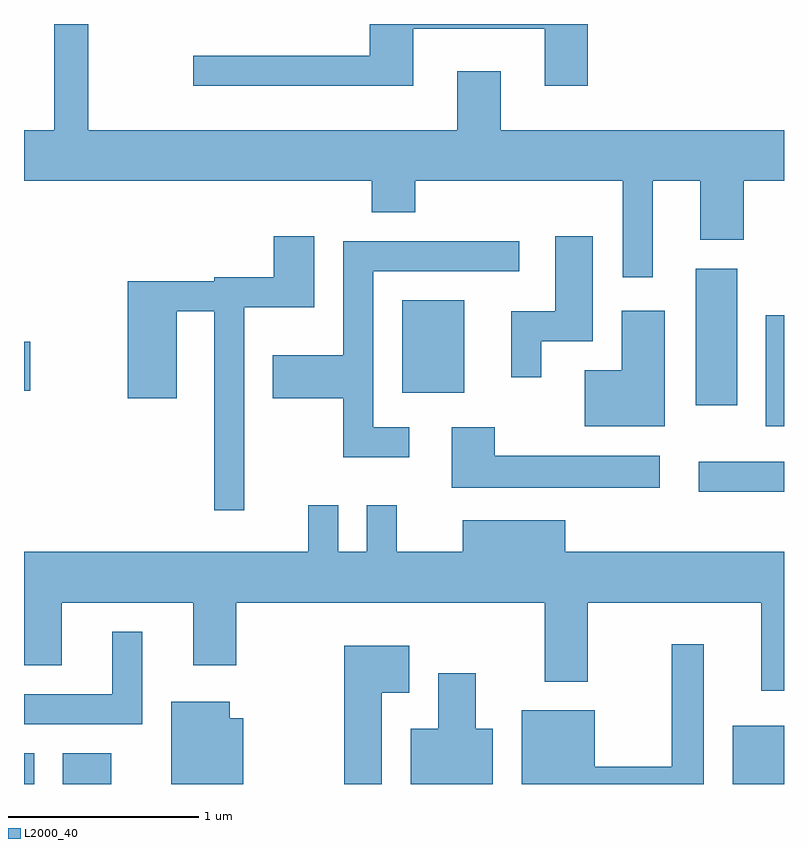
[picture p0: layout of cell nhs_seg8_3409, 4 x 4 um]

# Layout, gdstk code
import gdstk
lib = gdstk.Library(unit=1e-6, precision=1e-09)
def R(c, l, rs):  # rectangles x0, y0, x1, y1
    for r in rs: c.add(gdstk.rectangle(r[:2], r[2:], *l))
def P(c, l, *ps):  # polygons
    for p in ps: c.add(gdstk.Polygon(p, *l))
L2000_40 = (2000, 40)

nhs_seg8_3409 = lib.new_cell('nhs_seg8_3409')
R(nhs_seg8_3409, L2000_40, [(287.611,1844.342,287.664,1844.504), (287.816,1844.342,288.069,1844.504), (291.341,1844.342,291.611,1844.649), (291.163,1845.881,291.611,1846.039), (291.516,1846.226,291.611,1846.809), (291.146,1846.336,291.364,1847.054), (289.601,1846.401,289.929,1846.889), (287.611,1846.411,287.644,1846.669)])
P(nhs_seg8_3409, L2000_40, [(290.919,1847.516),(291.171,1847.516),(291.171,1847.206),(291.399,1847.206),(291.399,1847.516),(291.611,1847.516),(291.611,1847.784),(290.119,1847.784),(290.119,1848.094),(289.891,1848.094),(289.891,1847.784),(287.949,1847.784),(287.949,1848.342),(287.771,1848.342),(287.771,1847.784),(287.611,1847.784),(287.611,1847.516),(289.441,1847.516),(289.441,1847.351),(289.669,1847.351),(289.669,1847.516),(290.761,1847.516),(290.761,1847.008),(290.919,1847.008)],
  [(289.659,1848.316),(290.351,1848.316),(290.351,1848.016),(290.579,1848.016),(290.579,1848.342),(289.431,1848.342),(289.431,1848.174),(288.503,1848.174),(288.503,1848.016),(289.659,1848.016)],
  [(288.769,1846.851),(289.139,1846.851),(289.139,1847.224),(288.926,1847.224),(288.926,1847.009),(288.611,1847.009),(288.611,1846.989),(288.156,1846.989),(288.156,1846.371),(288.414,1846.371),(288.414,1846.831),(288.611,1846.831),(288.611,1845.783),(288.769,1845.783)],
  [(290.334,1846.671),(290.604,1846.671),(290.604,1847.224),(290.406,1847.224),(290.406,1846.829),(290.176,1846.829),(290.176,1846.483),(290.334,1846.483)],
  [(289.638,1846.219),(289.449,1846.219),(289.449,1847.041),(290.218,1847.041),(290.218,1847.199),(289.291,1847.199),(289.291,1846.599),(288.921,1846.599),(288.921,1846.371),(289.291,1846.371),(289.291,1846.061),(289.638,1846.061)],
  [(290.984,1846.834),(290.756,1846.834),(290.756,1846.519),(290.561,1846.519),(290.561,1846.226),(290.984,1846.226)],
  [(290.958,1846.069),(290.089,1846.069),(290.089,1846.219),(289.861,1846.219),(289.861,1845.901),(290.958,1845.901)],
  [(289.106,1845.808),(289.106,1845.564),(287.611,1845.564),(287.611,1844.966),(287.809,1844.966),(287.809,1845.296),(288.501,1845.296),(288.501,1844.966),(288.729,1844.966),(288.729,1845.296),(290.351,1845.296),(290.351,1844.881),(290.579,1844.881),(290.579,1845.296),(291.491,1845.296),(291.491,1844.833),(291.611,1844.833),(291.611,1845.564),(290.459,1845.564),(290.459,1845.729),(289.921,1845.729),(289.921,1845.564),(289.574,1845.564),(289.574,1845.808),(289.416,1845.808),(289.416,1845.564),(289.264,1845.564),(289.264,1845.808)],
  [(288.234,1845.143),(288.076,1845.143),(288.076,1844.814),(287.611,1844.814),(287.611,1844.656),(288.234,1844.656)],
  [(291.189,1845.078),(291.021,1845.078),(291.021,1844.434),(290.614,1844.434),(290.614,1844.729),(290.231,1844.729),(290.231,1844.342),(291.189,1844.342)],
  [(289.494,1844.821),(289.639,1844.821),(289.639,1845.069),(289.296,1845.069),(289.296,1844.342),(289.494,1844.342)],
  [(290.079,1844.634),(289.989,1844.634),(289.989,1844.924),(289.791,1844.924),(289.791,1844.634),(289.646,1844.634),(289.646,1844.342),(290.079,1844.342)],
  [(288.764,1844.689),(288.694,1844.689),(288.694,1844.774),(288.386,1844.774),(288.386,1844.342),(288.764,1844.342)])

lib.write_gds('nhs_seg8_3409.gds')
